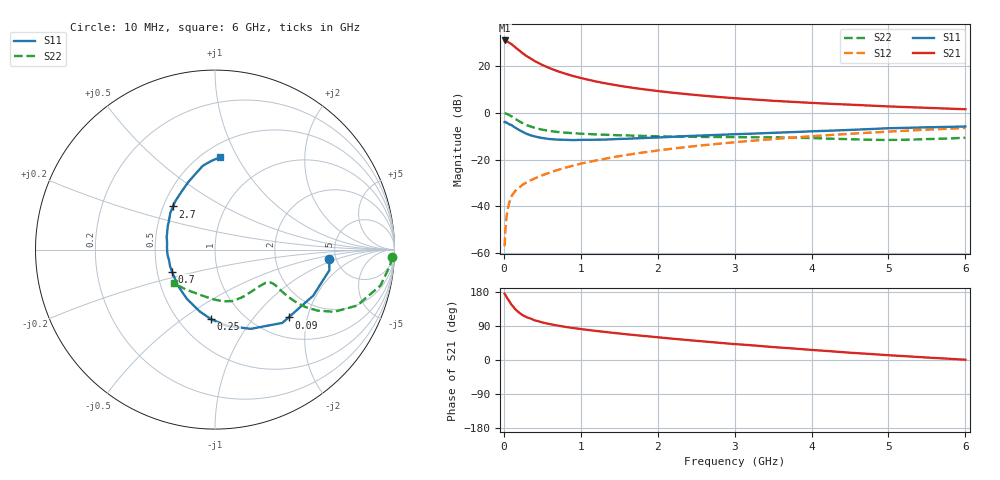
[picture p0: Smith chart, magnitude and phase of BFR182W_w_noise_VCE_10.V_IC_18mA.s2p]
! Infineon Technologies  Discrete & RF Semiconductors
! BFR182W
! VCE =  10. V,  IC =  18 mA
! Common Emitter S-Parameters:  Jan 2017
# GHz  S  MA  R  50
!  f  S11  S21  S12  S22
! GHz  MAG  ANG  MAG  ANG  MAG  ANG  MAG  ANG
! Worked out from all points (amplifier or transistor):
!   77 points, 10 MHz to 6 GHz, reference 50 ohm
!   highest |S21| = 31.1 dB at 10 MHz (marker M1)
!   |S21| within 3 dB of that: start of sweep to 152.2 MHz
!   unconditionally stable (mu >= 1): 877.6 MHz to 2.405 GHz
!   at 130 MHz: K = 0.39, MSG = 31.4 dB, |S12| = -34.2 dB
!   at 2.2 GHz: K = 1.01, MAG = 11.3 dB, |S12| = -15.2 dB
!   at 6 GHz: K = 0.87, MSG = 4.0 dB, |S12| = -6.4 dB
!   lowest NFmin = 1.34 dB at 450 MHz
!   S11 on the Smith chart (normalised r, x): 10 MHz: 4.37, -0.80; 90 MHz: 1.40, -1.54; 250 MHz: 0.71, -0.65; 700 MHz: 0.60, -0.16; 2.7 GHz: 0.56, +0.30; 6 GHz: 0.61, +0.85
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0.01  0.6382 -4.9  35.92 175.0  0.0014 76.7  0.9855 -2.3
0.02  0.6477 -10.2  35.83 171.7  0.0032 96.0  0.9806 -5.0
0.05  0.6046 -25.1  33.95 161.2  0.0087 78.0  0.944 -12.2
0.09  0.5574 -42.7  30.57 149.1  0.0149 73.8  0.8674 -19.5
0.1  0.5546 -47.4  29.96 145.7  0.0164 73.2  0.8507 -21.5
0.15  0.4845 -65.7  25.61 133.7  0.0216 67.6  0.7477 -27.6
0.2  0.4306 -80.9  21.86 124.7  0.0252 64.1  0.6632 -30.8
0.25  0.3889 -93.1  18.87 117.7  0.0295 63.3  0.5987 -32.4
0.3  0.3554 -103.7  16.44 112.5  0.0329 64.3  0.5469 -33.0
0.4  0.316 -119.7  13.03 104.7  0.0395 65.3  0.4803 -32.8
0.5  0.2913 -132.9  10.71 99.1  0.0463 65.9  0.4386 -32.0
0.6  0.2763 -143.7  9.09 94.6  0.0533 66.9  0.4112 -31.2
0.7  0.2692 -152.9  7.869 90.8  0.0601 68.9  0.393 -30.6
0.9  0.2627 -167.1  6.208 84.4  0.0745 69.2  0.3695 -30.4
1.1  0.2667 -178.1  5.151 79.2  0.0893 69.8  0.3549 -30.9
1.5  0.2785 165.4  3.846 70.0  0.119 69.4  0.3339 -34.3
2.1  0.3039 147.5  2.837 58.1  0.1652 66.7  0.3148 -43.6
2.7  0.3357 134.2  2.274 47.2  0.2122 62.8  0.3064 -55.7
3.1  0.3554 126.2  2.026 40.6  0.2442 59.9  0.3037 -63.7
4.1  0.4106 110.0  1.62 25.2  0.3259 51.8  0.287 -84.0
5.1  0.476 97.1  1.366 11.4  0.4075 42.5  0.2655 -113.6
6  0.5146 87.1  1.205 0.7  0.4784 33.6  0.2954 -140.9
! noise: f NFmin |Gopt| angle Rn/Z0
0.45  1.34  0.07  174  0.15
0.9  1.41  0.08  179  0.15
1.9  1.93  0.27  -144  0.15
2.4  2.18  0.27  -129  0.24
